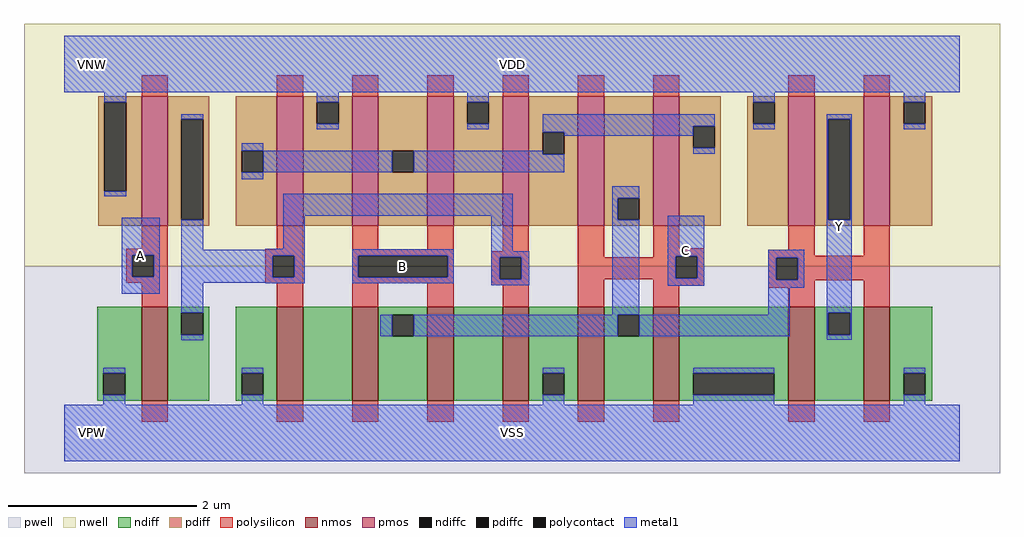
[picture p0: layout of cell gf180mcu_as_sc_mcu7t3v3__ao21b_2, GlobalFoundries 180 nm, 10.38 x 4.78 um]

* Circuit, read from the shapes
.subckt gf180mcu_as_sc_mcu7t3v3__ao21b_2 VDD VNW VPW VSS Y C B A
XM1 n1 A VSS VPW nfet_03v3 w=1u l=0.28u
XM2 n2 n1 VSS VPW nfet_03v3 w=1u l=0.28u
XM3 n3 B n2 VPW nfet_03v3 w=1u l=0.28u
XM4 n4 B n3 VPW nfet_03v3 w=1u l=0.28u
XM5 VSS n1 n4 VPW nfet_03v3 w=1u l=0.28u
XM6 n3 C VSS VPW nfet_03v3 w=1u l=0.28u m=2
XM7 Y n3 VSS VPW nfet_03v3 w=1u l=0.28u m=2
XM8 n1 A VDD VNW pfet_03v3 w=1.38u l=0.28u
XM9 VDD n1 n5 VNW pfet_03v3 w=1.38u l=0.28u m=2
XM10 n5 B VDD VNW pfet_03v3 w=1.38u l=0.28u m=2
XM11 n3 C n5 VNW pfet_03v3 w=1.38u l=0.28u m=2
XM12 Y n3 VDD VNW pfet_03v3 w=1.38u l=0.28u m=2
.ends

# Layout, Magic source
magic
tech gf180mcuD
magscale 1 10
<< nwell >>
rect -86 354 1990 870
<< pwell >>
rect -86 -86 1990 354
<< nmos >>
rect 164 68 220 268
rect 452 68 508 268
rect 612 68 668 268
rect 772 68 828 268
rect 932 68 988 268
rect 1092 68 1148 268
rect 1252 68 1308 268
rect 1540 68 1596 268
rect 1700 68 1756 268
<< pmos >>
rect 164 440 220 716
rect 452 440 508 716
rect 612 440 668 716
rect 772 440 828 716
rect 932 440 988 716
rect 1092 440 1148 716
rect 1252 440 1308 716
rect 1540 440 1596 716
rect 1700 440 1756 716
<< ndiff >>
rect 70 127 164 268
rect 70 81 83 127
rect 129 81 164 127
rect 70 68 164 81
rect 220 255 308 268
rect 220 209 249 255
rect 295 209 308 255
rect 220 68 308 209
rect 364 127 452 268
rect 364 81 377 127
rect 423 81 452 127
rect 364 68 452 81
rect 508 68 612 268
rect 668 251 772 268
rect 668 205 697 251
rect 743 205 772 251
rect 668 68 772 205
rect 828 68 932 268
rect 988 127 1092 268
rect 988 81 1017 127
rect 1063 81 1092 127
rect 988 68 1092 81
rect 1148 251 1252 268
rect 1148 205 1177 251
rect 1223 205 1252 251
rect 1148 68 1252 205
rect 1308 127 1540 268
rect 1308 81 1337 127
rect 1510 81 1540 127
rect 1308 68 1540 81
rect 1596 255 1700 268
rect 1596 209 1625 255
rect 1671 209 1700 255
rect 1596 68 1700 209
rect 1756 127 1846 268
rect 1756 81 1785 127
rect 1831 81 1846 127
rect 1756 68 1846 81
<< pdiff >>
rect 72 703 164 716
rect 72 514 85 703
rect 131 514 164 703
rect 72 440 164 514
rect 220 667 308 716
rect 220 453 249 667
rect 295 453 308 667
rect 220 440 308 453
rect 364 600 452 716
rect 364 554 377 600
rect 423 554 452 600
rect 364 440 452 554
rect 508 703 612 716
rect 508 657 537 703
rect 583 657 612 703
rect 508 440 612 657
rect 668 600 772 716
rect 668 554 697 600
rect 743 554 772 600
rect 668 440 772 554
rect 828 703 932 716
rect 828 657 857 703
rect 903 657 932 703
rect 828 440 932 657
rect 988 639 1092 716
rect 988 593 1017 639
rect 1063 593 1092 639
rect 988 440 1092 593
rect 1148 499 1252 716
rect 1148 453 1177 499
rect 1223 453 1252 499
rect 1148 440 1252 453
rect 1308 652 1396 716
rect 1308 606 1337 652
rect 1383 606 1396 652
rect 1308 440 1396 606
rect 1452 703 1540 716
rect 1452 657 1465 703
rect 1511 657 1540 703
rect 1452 440 1540 657
rect 1596 667 1700 716
rect 1596 453 1625 667
rect 1671 453 1700 667
rect 1596 440 1700 453
rect 1756 703 1846 716
rect 1756 657 1785 703
rect 1831 657 1846 703
rect 1756 440 1846 657
<< ndiffc >>
rect 83 81 129 127
rect 249 209 295 255
rect 377 81 423 127
rect 697 205 743 251
rect 1017 81 1063 127
rect 1177 205 1223 251
rect 1337 81 1510 127
rect 1625 209 1671 255
rect 1785 81 1831 127
<< pdiffc >>
rect 85 514 131 703
rect 249 453 295 667
rect 377 554 423 600
rect 537 657 583 703
rect 697 554 743 600
rect 857 657 903 703
rect 1017 593 1063 639
rect 1177 453 1223 499
rect 1337 606 1383 652
rect 1465 657 1511 703
rect 1625 453 1671 667
rect 1785 657 1831 703
<< polysilicon >>
rect 164 716 220 760
rect 452 716 508 760
rect 612 716 668 760
rect 772 716 828 760
rect 932 716 988 760
rect 1092 716 1148 760
rect 1252 716 1308 760
rect 1540 716 1596 760
rect 1700 716 1756 760
rect 164 391 220 440
rect 131 378 220 391
rect 452 390 508 440
rect 131 332 144 378
rect 190 332 220 378
rect 131 319 220 332
rect 164 268 220 319
rect 427 377 508 390
rect 427 331 443 377
rect 489 331 508 377
rect 427 318 508 331
rect 452 268 508 318
rect 612 390 668 440
rect 772 390 828 440
rect 612 377 828 390
rect 932 386 988 440
rect 612 331 625 377
rect 815 331 828 377
rect 612 318 828 331
rect 612 268 668 318
rect 772 268 828 318
rect 908 373 989 386
rect 908 327 926 373
rect 972 327 989 373
rect 908 314 989 327
rect 1092 373 1148 440
rect 1252 392 1308 440
rect 1252 375 1361 392
rect 1540 389 1596 440
rect 1252 373 1300 375
rect 1092 329 1300 373
rect 1346 329 1361 375
rect 1092 327 1361 329
rect 932 268 988 314
rect 1092 268 1148 327
rect 1252 313 1361 327
rect 1497 377 1596 389
rect 1700 377 1756 440
rect 1497 372 1756 377
rect 1497 326 1514 372
rect 1560 326 1756 372
rect 1497 324 1756 326
rect 1252 268 1308 313
rect 1497 309 1596 324
rect 1540 268 1596 309
rect 1700 268 1756 324
rect 164 24 220 68
rect 452 24 508 68
rect 612 24 668 68
rect 772 24 828 68
rect 932 24 988 68
rect 1092 24 1148 68
rect 1252 24 1308 68
rect 1540 24 1596 68
rect 1700 24 1756 68
<< polycontact >>
rect 144 332 190 378
rect 443 331 489 377
rect 625 331 815 377
rect 926 327 972 373
rect 1300 329 1346 375
rect 1514 326 1560 372
<< metal1 >>
rect 0 724 1904 844
rect 85 703 131 724
rect 537 703 583 724
rect 85 503 131 514
rect 249 667 295 678
rect 122 378 203 457
rect 122 332 144 378
rect 190 332 203 378
rect 122 296 203 332
rect 537 646 583 657
rect 857 703 903 724
rect 1465 703 1511 724
rect 857 646 903 657
rect 1017 652 1383 678
rect 1017 639 1337 652
rect 377 600 423 616
rect 423 554 697 600
rect 743 593 1017 600
rect 1063 632 1337 639
rect 1785 703 1831 724
rect 1465 646 1511 657
rect 1622 667 1675 678
rect 1337 594 1383 606
rect 743 554 1063 593
rect 377 539 423 554
rect 249 389 295 453
rect 465 462 954 508
rect 465 391 511 462
rect 427 389 511 391
rect 249 377 511 389
rect 249 331 443 377
rect 489 331 511 377
rect 249 319 511 331
rect 249 255 295 319
rect 427 318 511 319
rect 612 377 828 390
rect 612 331 625 377
rect 815 331 828 377
rect 612 318 828 331
rect 908 386 954 462
rect 1165 499 1223 524
rect 1165 453 1177 499
rect 908 373 989 386
rect 908 327 926 373
rect 972 327 989 373
rect 908 314 989 327
rect 1165 251 1223 453
rect 1283 375 1361 462
rect 1622 453 1625 667
rect 1671 453 1675 667
rect 1785 646 1831 657
rect 1283 329 1300 375
rect 1346 329 1361 375
rect 1283 313 1361 329
rect 1497 372 1574 389
rect 1497 326 1514 372
rect 1560 326 1574 372
rect 1497 309 1574 326
rect 1497 251 1543 309
rect 249 197 295 209
rect 672 205 697 251
rect 743 205 1177 251
rect 1223 205 1543 251
rect 1622 255 1675 453
rect 1622 209 1625 255
rect 1671 209 1675 255
rect 1622 198 1675 209
rect 83 127 129 138
rect 83 60 129 81
rect 377 127 423 138
rect 377 60 423 81
rect 1017 127 1063 138
rect 1017 60 1063 81
rect 1337 127 1510 138
rect 1337 60 1510 81
rect 1785 127 1831 138
rect 1785 60 1831 81
rect 0 -60 1904 60
<< labels >>
flabel metal1 s 0 724 1904 844 0 FreeSans 400 0 0 0 VDD
port 1 nsew power bidirectional abutment
flabel metal1 s 0 -60 1904 60 0 FreeSans 400 0 0 0 VSS
port 4 nsew ground bidirectional abutment
flabel nwell s 10 734 110 834 0 FreeSans 400 0 0 0 VNW
port 2 nsew power bidirectional
flabel pwell s 10 -50 110 50 0 FreeSans 400 0 0 0 VPW
port 3 nsew ground bidirectional
flabel metal1 1283 313 1361 462 0 FreeSans 200 0 0 0 C
port 6 nsew signal input
flabel metal1 612 318 828 390 0 FreeSans 200 0 0 0 B
port 7 nsew signal input
flabel metal1 122 296 203 457 0 FreeSans 200 0 0 0 A
port 8 nsew signal input
flabel metal1 1622 198 1675 678 0 FreeSans 200 0 0 0 Y
port 5 nsew signal output
<< properties >>
string FIXED_BBOX 0 0 1904 784
string LEFclass CORE
string LEFsite unithd
string LEFsymmetry X Y
string MASKHINTS_NPLUS -16 -46 1920 354
string MASKHINTS_PPLUS -16 354 1920 830
<< end >>
